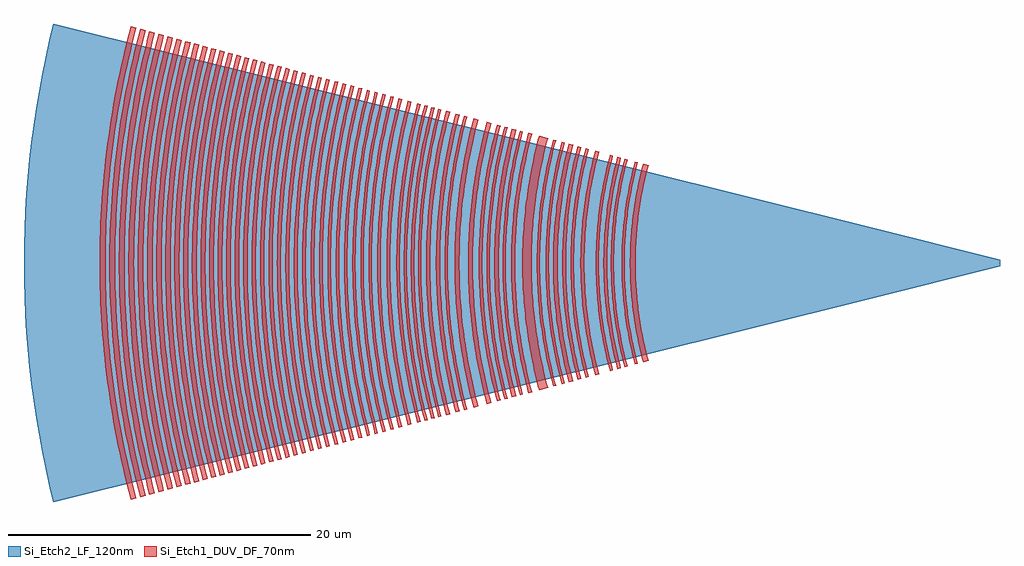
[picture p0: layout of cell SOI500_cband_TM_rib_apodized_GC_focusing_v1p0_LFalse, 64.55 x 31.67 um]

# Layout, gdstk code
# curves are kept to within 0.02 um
import gdstk
lib = gdstk.Library(unit=1e-6, precision=1e-09)
def P(c, l, *ps):  # polygons
    for p in ps: c.add(gdstk.Polygon(p, *l))
Si_Etch2_LF_120nm = (3, 0)
Si_Etch1_DUV_DF_70nm = (6, 0)

soi500_cband_tm_rib_apod = lib.new_cell('SOI500_cband_TM_rib_apodized_GC_focusing_v1p0_LFalse')
P(soi500_cband_tm_rib_apod, Si_Etch2_LF_120nm, [(-62.606,-15.834),(-63.12,-13.608),(-63.556,-11.366),(-64.062,-7.977),(-64.391,-4.566),(-64.51,-2.284),(-64.55,0),(-64.51,2.284),(-64.391,4.566),(-64.062,7.977),(-63.556,11.366),(-63.12,13.608),(-62.606,15.834),(0,0.225),(0,-0.225)])
P(soi500_cband_tm_rib_apod, Si_Etch1_DUV_DF_70nm, [(-23.608,-6.567),(-24.007,-4.841),(-24.256,-3.312),(-24.411,-1.77),(-24.473,0),(-24.411,1.77),(-24.256,3.312),(-24.007,4.841),(-23.608,6.567),(-23.246,6.47),(-23.639,4.77),(-23.884,3.263),(-24.037,1.744),(-24.098,0),(-24.037,-1.744),(-23.884,-3.263),(-23.639,-4.77),(-23.246,-6.47)],
  [(-24.144,-6.71),(-24.507,-5.17),(-24.806,-3.384),(-24.98,-1.583),(-25.028,0),(-24.98,1.583),(-24.806,3.384),(-24.507,5.17),(-24.144,6.71),(-23.951,6.659),(-24.355,4.91),(-24.608,3.358),(-24.78,1.571),(-24.828,0),(-24.78,-1.571),(-24.608,-3.358),(-24.355,-4.91),(-23.951,-6.659)],
  [(-24.826,-6.893),(-25.199,-5.31),(-25.506,-3.477),(-25.67,-1.858),(-25.734,0),(-25.67,1.858),(-25.506,3.477),(-25.199,5.31),(-24.826,6.893),(-24.633,6.842),(-25.048,5.044),(-25.308,3.451),(-25.47,1.844),(-25.534,0),(-25.47,-1.844),(-25.308,-3.451),(-25.048,-5.044),(-24.633,-6.842)],
  [(-25.302,-7.021),(-25.681,-5.408),(-25.994,-3.541),(-26.176,-1.655),(-26.226,0),(-26.176,1.655),(-25.994,3.541),(-25.681,5.408),(-25.302,7.021),(-25.068,6.959),(-25.49,5.13),(-25.754,3.509),(-25.919,1.875),(-25.984,0),(-25.919,-1.875),(-25.754,-3.509),(-25.49,-5.13),(-25.068,-6.959)],
  [(-25.793,-7.152),(-26.18,-5.51),(-26.498,-3.607),(-26.684,-1.687),(-26.735,0),(-26.684,1.687),(-26.498,3.607),(-26.18,5.51),(-25.793,7.152),(-25.6,7.101),(-26.031,5.235),(-26.3,3.581),(-26.484,1.675),(-26.535,0),(-26.484,-1.675),(-26.3,-3.581),(-26.031,-5.235),(-25.6,-7.101)],
  [(-26.771,-7.414),(-27.172,-5.711),(-27.502,-3.739),(-27.694,-1.749),(-27.747,0),(-27.694,1.749),(-27.502,3.739),(-27.172,5.711),(-26.771,7.414),(-26.518,7.347),(-26.915,5.659),(-27.242,3.705),(-27.416,1.98),(-27.485,0),(-27.416,-1.98),(-27.242,-3.705),(-26.915,-5.659),(-26.518,-7.347)],
  [(-27.399,-7.583),(-27.859,-5.591),(-28.146,-3.824),(-28.343,-1.789),(-28.397,0),(-28.343,1.789),(-28.146,3.824),(-27.859,5.591),(-27.399,7.583),(-27.192,7.528),(-27.649,5.55),(-27.934,3.796),(-28.129,1.776),(-28.183,0),(-28.129,-1.776),(-27.934,-3.796),(-27.649,-5.55),(-27.192,-7.528)],
  [(-27.933,-7.725),(-28.402,-5.696),(-28.695,-3.896),(-28.895,-1.822),(-28.95,0),(-28.895,1.822),(-28.695,3.896),(-28.402,5.696),(-27.933,7.725),(-27.694,7.662),(-28.109,5.902),(-28.45,3.864),(-28.648,1.807),(-28.703,0),(-28.648,-1.807),(-28.45,-3.864),(-28.109,-5.902),(-27.694,-7.662)],
  [(-28.522,-7.883),(-28.949,-6.074),(-29.299,-3.977),(-29.486,-2.125),(-29.56,0),(-29.486,2.125),(-29.299,3.977),(-28.949,6.074),(-28.522,7.883),(-28.229,7.806),(-28.652,6.013),(-28.999,3.937),(-29.184,2.104),(-29.257,0),(-29.184,-2.104),(-28.999,-3.937),(-28.652,-6.013),(-28.229,-7.806)],
  [(-28.992,-8.009),(-29.425,-6.17),(-29.781,-4.039),(-29.989,-1.89),(-30.046,0),(-29.989,1.89),(-29.781,4.039),(-29.425,6.17),(-28.992,8.009),(-28.791,7.956),(-29.221,6.129),(-29.575,4.012),(-29.781,1.877),(-29.838,0),(-29.781,-1.877),(-29.575,-4.012),(-29.221,-6.129),(-28.791,-7.956)],
  [(-29.555,-8.16),(-29.997,-6.287),(-30.36,-4.116),(-30.572,-1.925),(-30.63,0),(-30.572,1.925),(-30.36,4.116),(-29.997,6.287),(-29.555,8.16),(-29.362,8.109),(-29.801,6.247),(-30.162,4.09),(-30.372,1.913),(-30.43,0),(-30.372,-1.913),(-30.162,-4.09),(-29.801,-6.247),(-29.362,-8.109)],
  [(-30.487,-8.406),(-30.941,-6.478),(-31.148,-5.362),(-31.315,-4.24),(-31.533,-1.983),(-31.593,0),(-31.533,1.983),(-31.315,4.24),(-31.148,5.362),(-30.941,6.478),(-30.487,8.406),(-29.894,8.252),(-30.34,6.356),(-30.63,4.712),(-30.859,2.779),(-30.961,1.113),(-30.961,-1.113),(-30.882,-2.501),(-30.775,-3.609),(-30.446,-5.81),(-30.163,-7.172),(-29.894,-8.252)],
  [(-31.198,-8.6),(-31.663,-6.626),(-32.046,-4.338),(-32.269,-2.029),(-32.33,0),(-32.269,2.029),(-32.046,4.338),(-31.663,6.626),(-31.198,8.6),(-30.947,8.534),(-31.408,6.574),(-31.618,5.442),(-31.788,4.304),(-32.009,2.013),(-32.07,0),(-32.009,-2.013),(-31.788,-4.304),(-31.618,-5.442),(-31.408,-6.574),(-30.947,-8.534)],
  [(-31.744,-8.747),(-32.218,-6.738),(-32.607,-4.412),(-32.814,-2.357),(-32.876,-1.179),(-32.896,0),(-32.876,1.179),(-32.814,2.357),(-32.607,4.412),(-32.218,6.738),(-31.744,8.747),(-31.548,8.695),(-32.019,6.698),(-32.406,4.385),(-32.611,2.343),(-32.673,1.172),(-32.693,0),(-32.673,-1.172),(-32.611,-2.343),(-32.406,-4.385),(-32.019,-6.698),(-31.548,-8.695)],
  [(-32.277,-8.888),(-32.757,-6.848),(-32.976,-5.669),(-33.153,-4.484),(-33.363,-2.395),(-33.426,-1.198),(-33.447,0),(-33.426,1.198),(-33.363,2.395),(-33.153,4.484),(-32.976,5.669),(-32.757,6.848),(-32.277,8.888),(-31.99,8.813),(-32.466,6.789),(-32.683,5.62),(-32.859,4.445),(-33.067,2.375),(-33.129,1.188),(-33.15,0),(-33.129,-1.188),(-33.067,-2.375),(-32.859,-4.445),(-32.683,-5.62),(-32.466,-6.789),(-31.99,-8.813)],
  [(-32.763,-9.02),(-33.251,-6.949),(-33.473,-5.752),(-33.653,-4.549),(-33.867,-2.431),(-33.93,-1.216),(-33.951,0),(-33.93,1.216),(-33.867,2.431),(-33.653,4.549),(-33.473,5.752),(-33.251,6.949),(-32.763,9.02),(-32.57,8.969),(-32.93,7.5),(-33.171,6.315),(-33.414,4.823),(-33.561,3.622),(-33.704,1.814),(-33.751,0),(-33.704,-1.814),(-33.561,-3.622),(-33.414,-4.823),(-33.171,-6.315),(-32.93,-7.5),(-32.57,-8.969)],
  [(-33.266,-9.154),(-33.761,-7.053),(-33.986,-5.838),(-34.168,-4.617),(-34.308,-3.39),(-34.405,-2.16),(-34.471,0),(-34.405,2.16),(-34.308,3.39),(-34.168,4.617),(-33.986,5.838),(-33.761,7.053),(-33.266,9.154),(-33.035,9.093),(-33.527,7.005),(-33.75,5.799),(-33.931,4.586),(-34.146,2.451),(-34.211,1.226),(-34.232,0),(-34.211,-1.226),(-34.146,-2.451),(-33.931,-4.586),(-33.75,-5.799),(-33.527,-7.005),(-33.035,-9.093)],
  [(-33.946,-9.336),(-34.451,-7.193),(-34.68,-5.954),(-34.866,-4.709),(-35.087,-2.516),(-35.153,-1.259),(-35.175,0),(-35.153,1.259),(-35.087,2.516),(-34.866,4.709),(-34.68,5.954),(-34.451,7.193),(-33.946,9.336),(-33.65,9.258),(-34.151,7.132),(-34.378,5.904),(-34.563,4.669),(-34.782,2.495),(-34.847,1.248),(-34.869,0),(-34.847,-1.248),(-34.782,-2.495),(-34.563,-4.669),(-34.378,-5.904),(-34.151,-7.132),(-33.65,-9.258)],
  [(-34.815,-9.569),(-35.128,-8.319),(-35.396,-7.055),(-35.758,-4.826),(-35.985,-2.58),(-36.053,-1.29),(-36.075,0),(-36.053,1.29),(-35.985,2.58),(-35.758,4.826),(-35.396,7.055),(-35.128,8.319),(-34.815,9.569),(-34.504,9.487),(-34.814,8.246),(-35.08,6.994),(-35.439,4.784),(-35.584,3.513),(-35.685,2.238),(-35.753,0),(-35.685,-2.238),(-35.584,-3.513),(-35.439,-4.784),(-35.08,-6.994),(-34.814,-8.246),(-34.504,-9.487)],
  [(-35.443,-9.737),(-35.97,-7.501),(-36.209,-6.21),(-36.403,-4.911),(-36.634,-2.625),(-36.702,-1.313),(-36.725,0),(-36.702,1.313),(-36.634,2.625),(-36.403,4.911),(-36.209,6.21),(-35.97,7.501),(-35.443,9.737),(-35.248,9.686),(-35.564,8.419),(-35.896,6.82),(-36.112,5.532),(-36.282,4.237),(-36.472,1.959),(-36.523,0),(-36.472,-1.959),(-36.282,-4.237),(-36.112,-5.532),(-35.896,-6.82),(-35.564,-8.419),(-35.248,-9.686)],
  [(-36.003,-9.887),(-36.537,-7.617),(-36.78,-6.306),(-36.978,-4.987),(-37.211,-2.665),(-37.281,-1.334),(-37.304,0),(-37.281,1.334),(-37.211,2.665),(-36.978,4.987),(-36.78,6.306),(-36.537,7.617),(-36.003,9.887),(-35.736,9.817),(-36.267,7.562),(-36.508,6.26),(-36.704,4.951),(-36.936,2.646),(-37.005,1.324),(-37.028,0),(-37.005,-1.324),(-36.936,-2.646),(-36.704,-4.951),(-36.508,-6.26),(-36.267,-7.562),(-35.736,-9.817)],
  [(-36.632,-10.056),(-37.176,-7.747),(-37.423,-6.413),(-37.624,-5.072),(-37.777,-3.724),(-37.884,-2.372),(-37.956,0),(-37.884,2.372),(-37.777,3.724),(-37.624,5.072),(-37.423,6.413),(-37.176,7.747),(-36.632,10.056),(-36.373,9.988),(-36.699,8.681),(-36.979,7.363),(-37.358,5.037),(-37.594,2.692),(-37.664,1.347),(-37.688,0),(-37.664,-1.347),(-37.594,-2.692),(-37.358,-5.037),(-36.979,-7.363),(-36.699,-8.681),(-36.373,-9.988)],
  [(-37.145,-10.194),(-37.696,-7.853),(-37.947,-6.501),(-38.15,-5.141),(-38.392,-2.748),(-38.463,-1.375),(-38.487,0),(-38.463,1.375),(-38.392,2.748),(-38.15,5.141),(-37.947,6.501),(-37.696,7.853),(-37.145,10.194),(-36.952,10.143),(-37.283,8.816),(-37.631,7.142),(-37.857,5.793),(-38.035,4.436),(-38.214,2.392),(-38.287,0),(-38.214,-2.392),(-38.035,-4.436),(-37.857,-5.793),(-37.631,-7.142),(-37.283,-8.816),(-36.952,-10.143)],
  [(-37.606,-10.317),(-37.942,-8.968),(-38.232,-7.606),(-38.623,-5.204),(-38.781,-3.821),(-38.89,-2.434),(-38.964,0),(-38.89,2.434),(-38.781,3.821),(-38.623,5.204),(-38.232,7.606),(-37.942,8.968),(-37.606,10.317),(-37.386,10.259),(-37.721,8.917),(-38.073,7.224),(-38.302,5.859),(-38.52,4.143),(-38.683,2.075),(-38.737,0),(-38.683,-2.075),(-38.52,-4.143),(-38.302,-5.859),(-38.073,-7.224),(-37.721,-8.917),(-37.386,-10.259)],
  [(-38.054,-10.437),(-38.394,-9.072),(-38.687,-7.695),(-39.083,-5.264),(-39.33,-2.813),(-39.404,-1.408),(-39.428,0),(-39.404,1.408),(-39.33,2.813),(-39.083,5.264),(-38.687,7.695),(-38.394,9.072),(-38.054,10.437),(-37.861,10.386),(-38.199,9.027),(-38.491,7.657),(-38.734,6.278),(-38.97,4.543),(-39.173,2.1),(-39.228,0),(-39.173,-2.1),(-38.97,-4.543),(-38.734,-6.278),(-38.491,-7.657),(-38.199,-9.027),(-37.861,-10.386)],
  [(-38.527,-10.564),(-39.098,-8.138),(-39.357,-6.737),(-39.568,-5.327),(-39.729,-3.912),(-39.841,-2.492),(-39.917,0),(-39.841,2.492),(-39.729,3.912),(-39.568,5.327),(-39.357,6.737),(-39.098,8.138),(-38.527,10.564),(-38.315,10.508),(-38.657,9.133),(-38.952,7.747),(-39.252,6.001),(-39.437,4.596),(-39.622,2.479),(-39.698,0),(-39.622,-2.479),(-39.437,-4.596),(-39.252,-6.001),(-38.952,-7.747),(-38.657,-9.133),(-38.315,-10.508)],
  [(-39.158,-10.733),(-39.508,-9.329),(-39.809,-7.913),(-40.216,-5.414),(-40.38,-3.975),(-40.494,-2.531),(-40.571,0),(-40.494,2.531),(-40.38,3.975),(-40.216,5.414),(-39.809,7.913),(-39.508,9.329),(-39.158,10.733),(-38.924,10.671),(-39.352,8.924),(-39.639,7.514),(-39.928,5.738),(-40.103,4.31),(-40.272,2.158),(-40.329,0),(-40.272,-2.158),(-40.103,-4.31),(-39.928,-5.738),(-39.639,-7.514),(-39.352,-8.924),(-38.924,-10.671)],
  [(-39.756,-10.893),(-40.111,-9.468),(-40.417,-8.032),(-40.83,-5.494),(-40.996,-4.034),(-41.112,-2.57),(-41.19,0),(-41.112,2.57),(-40.996,4.034),(-40.83,5.494),(-40.417,8.032),(-40.111,9.468),(-39.756,10.893),(-39.543,10.837),(-39.897,9.419),(-40.201,7.99),(-40.51,6.189),(-40.701,4.74),(-40.913,2.191),(-40.97,0),(-40.913,-2.191),(-40.701,-4.74),(-40.51,-6.189),(-40.201,-7.99),(-39.897,-9.419),(-39.543,-10.837)],
  [(-40.304,-11.04),(-40.902,-8.505),(-41.173,-7.041),(-41.393,-5.568),(-41.655,-2.976),(-41.732,-1.489),(-41.758,0),(-41.732,1.489),(-41.655,2.976),(-41.393,5.568),(-41.173,7.041),(-40.902,8.505),(-40.304,11.04),(-40.111,10.989),(-40.47,9.551),(-40.778,8.102),(-41.092,6.276),(-41.285,4.807),(-41.479,2.592),(-41.558,0),(-41.479,-2.592),(-41.285,-4.807),(-41.092,-6.276),(-40.778,-8.102),(-40.47,-9.551),(-40.111,-10.989)],
  [(-40.822,-11.179),(-41.187,-9.717),(-41.427,-8.612),(-41.701,-7.129),(-41.924,-5.638),(-42.095,-4.14),(-42.214,-2.637),(-42.294,0),(-42.214,2.637),(-42.095,4.14),(-41.924,5.638),(-41.701,7.129),(-41.427,8.612),(-41.187,9.717),(-40.822,11.179),(-40.629,11.128),(-40.992,9.672),(-41.304,8.204),(-41.565,6.726),(-41.818,4.867),(-42.014,2.625),(-42.094,0),(-42.014,-2.625),(-41.818,-4.867),(-41.565,-6.726),(-41.304,-8.204),(-40.992,-9.672),(-40.629,-11.128)],
  [(-41.338,-11.317),(-41.62,-10.209),(-41.95,-8.718),(-42.228,-7.218),(-42.454,-5.708),(-42.627,-4.191),(-42.747,-2.669),(-42.828,0),(-42.747,2.669),(-42.627,4.191),(-42.454,5.708),(-42.228,7.218),(-41.95,8.718),(-41.62,10.209),(-41.338,11.317),(-41.145,11.266),(-41.596,9.422),(-41.899,7.933),(-42.15,6.434),(-42.348,4.928),(-42.547,2.657),(-42.628,0),(-42.547,-2.657),(-42.348,-4.928),(-42.15,-6.434),(-41.899,-7.933),(-41.596,-9.422),(-41.145,-11.266)],
  [(-41.863,-11.458),(-42.237,-9.96),(-42.483,-8.826),(-42.765,-7.308),(-42.993,-5.779),(-43.13,-4.628),(-43.265,-3.088),(-43.345,-1.545),(-43.372,0),(-43.345,1.545),(-43.265,3.088),(-43.13,4.628),(-42.993,5.779),(-42.765,7.308),(-42.483,8.826),(-42.237,9.96),(-41.863,11.458),(-41.667,11.406),(-42.124,9.539),(-42.431,8.031),(-42.685,6.514),(-42.886,4.989),(-43.109,2.306),(-43.169,0),(-43.109,-2.306),(-42.886,-4.989),(-42.685,-6.514),(-42.431,-8.031),(-42.124,-9.539),(-41.667,-11.406)],
  [(-42.398,-11.601),(-42.777,-10.084),(-43.025,-8.937),(-43.31,-7.398),(-43.541,-5.851),(-43.719,-4.296),(-43.842,-2.737),(-43.91,-1.173),(-43.925,0),(-43.91,1.173),(-43.842,2.737),(-43.719,4.296),(-43.541,5.851),(-43.31,7.398),(-43.025,8.937),(-42.777,10.084),(-42.398,11.601),(-42.191,11.547),(-42.568,10.036),(-42.964,8.13),(-43.221,6.594),(-43.424,5.05),(-43.628,2.724),(-43.696,1.168),(-43.711,0),(-43.696,-1.168),(-43.628,-2.724),(-43.424,-5.05),(-43.221,-6.594),(-42.964,-8.13),(-42.568,-10.036),(-42.191,-11.547)],
  [(-42.93,-11.744),(-43.313,-10.208),(-43.642,-8.659),(-43.854,-7.49),(-44.088,-5.923),(-44.267,-4.349),(-44.392,-2.77),(-44.461,-1.188),(-44.476,0),(-44.461,1.188),(-44.392,2.77),(-44.267,4.349),(-44.088,5.923),(-43.854,7.49),(-43.642,8.659),(-43.313,10.208),(-42.93,11.744),(-42.719,11.688),(-43.101,10.159),(-43.502,8.23),(-43.762,6.675),(-43.968,5.112),(-44.174,2.757),(-44.243,1.182),(-44.258,0),(-44.243,-1.182),(-44.174,-2.757),(-43.968,-5.112),(-43.762,-6.675),(-43.502,-8.23),(-43.101,-10.159),(-42.719,-11.688)],
  [(-43.466,-11.887),(-43.853,-10.332),(-44.186,-8.765),(-44.4,-7.58),(-44.637,-5.996),(-44.819,-4.403),(-44.945,-2.804),(-45.002,-1.603),(-45.03,0),(-45.002,1.603),(-44.945,2.804),(-44.819,4.403),(-44.637,5.996),(-44.4,7.58),(-44.186,8.765),(-43.853,10.332),(-43.466,11.887),(-43.245,11.829),(-43.631,10.281),(-44.037,8.329),(-44.3,6.755),(-44.508,5.174),(-44.717,2.79),(-44.774,1.595),(-44.802,0),(-44.774,-1.595),(-44.717,-2.79),(-44.508,-5.174),(-44.3,-6.755),(-44.037,-8.329),(-43.631,-10.281),(-43.245,-11.829)],
  [(-44.006,-12.032),(-44.398,-10.458),(-44.736,-8.871),(-44.953,-7.673),(-45.192,-6.068),(-45.376,-4.456),(-45.504,-2.839),(-45.562,-1.622),(-45.59,0),(-45.562,1.622),(-45.504,2.839),(-45.376,4.456),(-45.192,6.068),(-44.953,7.673),(-44.736,8.871),(-44.398,10.458),(-44.006,12.032),(-43.777,11.972),(-44.167,10.405),(-44.503,8.826),(-44.784,7.236),(-45.056,5.236),(-45.177,4.031),(-45.29,2.421),(-45.353,0),(-45.29,-2.421),(-45.177,-4.031),(-45.056,-5.236),(-44.784,-7.236),(-44.503,-8.826),(-44.167,-10.405),(-43.777,-11.972)],
  [(-44.547,-12.177),(-44.944,-10.584),(-45.286,-8.978),(-45.571,-7.36),(-45.747,-6.141),(-45.933,-4.51),(-46.063,-2.873),(-46.134,-1.231),(-46.15,0),(-46.134,1.231),(-46.063,2.873),(-45.933,4.51),(-45.747,6.141),(-45.571,7.36),(-45.286,8.978),(-44.944,10.584),(-44.547,12.177),(-44.317,12.116),(-44.712,10.531),(-45.052,8.933),(-45.398,6.92),(-45.611,5.299),(-45.825,2.858),(-45.896,1.225),(-45.912,0),(-45.896,-1.225),(-45.825,-2.858),(-45.611,-5.299),(-45.398,-6.92),(-45.052,-8.933),(-44.712,-10.531),(-44.317,-12.116)],
  [(-45.084,-12.32),(-45.486,-10.709),(-45.831,-9.084),(-46.12,-7.448),(-46.299,-6.214),(-46.487,-4.563),(-46.618,-2.906),(-46.69,-1.247),(-46.706,0),(-46.69,1.247),(-46.618,2.906),(-46.487,4.563),(-46.299,6.214),(-46.12,7.448),(-45.831,9.084),(-45.486,10.709),(-45.084,12.32),(-44.846,12.258),(-45.246,10.654),(-45.59,9.037),(-45.94,7.001),(-46.156,5.362),(-46.372,2.891),(-46.444,1.24),(-46.46,0),(-46.444,-1.24),(-46.372,-2.891),(-46.156,-5.362),(-45.94,-7.001),(-45.59,-9.037),(-45.246,-10.654),(-44.846,-12.258)],
  [(-45.62,-12.465),(-46.027,-10.835),(-46.376,-9.19),(-46.601,-7.95),(-46.849,-6.287),(-47.039,-4.616),(-47.172,-2.94),(-47.245,-1.261),(-47.261,0),(-47.245,1.261),(-47.172,2.94),(-47.039,4.616),(-46.849,6.287),(-46.601,7.95),(-46.376,9.19),(-46.027,10.835),(-45.62,12.465),(-45.376,12.4),(-45.781,10.778),(-46.129,9.142),(-46.483,7.082),(-46.701,5.424),(-46.92,2.925),(-46.993,1.254),(-47.009,0),(-46.993,-1.254),(-46.92,-2.925),(-46.701,-5.424),(-46.483,-7.082),(-46.129,-9.142),(-45.781,-10.778),(-45.376,-12.4)],
  [(-46.16,-12.608),(-46.57,-10.96),(-46.924,-9.296),(-47.151,-8.041),(-47.402,-6.36),(-47.595,-4.67),(-47.729,-2.975),(-47.802,-1.276),(-47.819,0),(-47.802,1.276),(-47.729,2.975),(-47.595,4.67),(-47.402,6.36),(-47.151,8.041),(-46.924,9.296),(-46.57,10.96),(-46.16,12.608),(-45.911,12.543),(-46.32,10.902),(-46.75,8.832),(-47.03,7.163),(-47.297,5.066),(-47.496,2.536),(-47.562,0),(-47.496,-2.536),(-47.297,-5.066),(-47.03,-7.163),(-46.75,-8.832),(-46.32,-10.902),(-45.911,-12.543)],
  [(-46.696,-12.753),(-47.014,-11.503),(-47.386,-9.824),(-47.699,-8.134),(-47.954,-6.432),(-48.148,-4.723),(-48.284,-3.008),(-48.345,-1.72),(-48.375,0),(-48.345,1.72),(-48.284,3.008),(-48.148,4.723),(-47.954,6.432),(-47.699,8.134),(-47.386,9.824),(-47.014,11.503),(-46.696,12.753),(-46.442,12.686),(-46.856,11.026),(-47.291,8.932),(-47.574,7.245),(-47.797,5.549),(-48.021,2.992),(-48.082,1.711),(-48.112,0),(-48.082,-1.711),(-48.021,-2.992),(-47.797,-5.549),(-47.574,-7.245),(-47.291,-8.932),(-46.856,-11.026),(-46.442,-12.686)],
  [(-47.236,-12.897),(-47.558,-11.634),(-47.934,-9.936),(-48.25,-8.226),(-48.508,-6.505),(-48.705,-4.777),(-48.841,-3.043),(-48.904,-1.739),(-48.934,0),(-48.904,1.739),(-48.841,3.043),(-48.705,4.777),(-48.508,6.505),(-48.25,8.226),(-47.934,9.936),(-47.558,11.634),(-47.236,12.897),(-46.974,12.828),(-47.393,11.15),(-47.833,9.033),(-48.119,7.326),(-48.344,5.611),(-48.571,3.026),(-48.633,1.73),(-48.663,0),(-48.633,-1.73),(-48.571,-3.026),(-48.344,-5.611),(-48.119,-7.326),(-47.833,-9.033),(-47.393,-11.15),(-46.974,-12.828)],
  [(-47.774,-13.042),(-48.2,-11.336),(-48.565,-9.616),(-48.871,-7.883),(-49.06,-6.578),(-49.259,-4.83),(-49.397,-3.077),(-49.474,-1.319),(-49.491,0),(-49.474,1.319),(-49.397,3.077),(-49.259,4.83),(-49.06,6.578),(-48.871,7.883),(-48.565,9.616),(-48.2,11.336),(-47.774,13.042),(-47.507,12.971),(-47.931,11.274),(-48.376,9.133),(-48.665,7.408),(-48.893,5.673),(-49.122,3.06),(-49.198,1.312),(-49.215,0),(-49.198,-1.312),(-49.122,-3.06),(-48.893,-5.673),(-48.665,-7.408),(-48.376,-9.133),(-47.931,-11.274),(-47.507,-12.971)],
  [(-48.315,-13.186),(-48.745,-11.462),(-49.115,-9.722),(-49.424,-7.971),(-49.616,-6.651),(-49.817,-4.884),(-49.927,-3.555),(-50.02,-1.778),(-50.051,0),(-50.02,1.778),(-49.927,3.555),(-49.817,4.884),(-49.616,6.651),(-49.424,7.971),(-49.115,9.722),(-48.745,11.462),(-48.315,13.186),(-48.041,13.114),(-48.567,10.967),(-48.92,9.234),(-49.211,7.49),(-49.442,5.736),(-49.612,3.976),(-49.699,2.652),(-49.768,0),(-49.699,-2.652),(-49.612,-3.976),(-49.442,-5.736),(-49.211,-7.49),(-48.92,-9.234),(-48.567,-10.967),(-48.041,-13.114)],
  [(-48.861,-13.332),(-49.295,-11.589),(-49.67,-9.83),(-49.909,-8.503),(-50.175,-6.724),(-50.379,-4.938),(-50.49,-3.593),(-50.585,-1.798),(-50.616,0),(-50.585,1.798),(-50.49,3.593),(-50.379,4.938),(-50.175,6.724),(-49.909,8.503),(-49.67,9.83),(-49.295,11.589),(-48.861,13.332),(-48.578,13.258),(-49.01,11.523),(-49.382,9.774),(-49.76,7.572),(-49.994,5.799),(-50.128,4.465),(-50.253,2.681),(-50.323,0),(-50.253,-2.681),(-50.128,-4.465),(-49.994,-5.799),(-49.76,-7.572),(-49.382,-9.774),(-49.01,-11.523),(-48.578,-13.258)],
  [(-49.404,-13.478),(-49.843,-11.716),(-50.222,-9.938),(-50.464,-8.596),(-50.732,-6.798),(-50.939,-4.991),(-51.051,-3.633),(-51.146,-1.817),(-51.178,0),(-51.146,1.817),(-51.051,3.633),(-50.939,4.991),(-50.732,6.798),(-50.464,8.596),(-50.222,9.938),(-49.843,11.716),(-49.404,13.478),(-49.118,13.403),(-49.555,11.649),(-49.931,9.881),(-50.313,7.654),(-50.549,5.862),(-50.685,4.513),(-50.811,2.71),(-50.882,0),(-50.811,-2.71),(-50.685,-4.513),(-50.549,-5.862),(-50.313,-7.654),(-49.931,-9.881),(-49.555,-11.649),(-49.118,-13.403)],
  [(-49.947,-13.623),(-50.286,-12.289),(-50.683,-10.495),(-51.018,-8.688),(-51.289,-6.872),(-51.498,-5.045),(-51.612,-3.672),(-51.708,-1.838),(-51.74,0),(-51.708,1.838),(-51.612,3.672),(-51.498,5.045),(-51.289,6.872),(-51.018,8.688),(-50.683,10.495),(-50.286,12.289),(-49.947,13.623),(-49.654,13.546),(-50.096,11.774),(-50.561,9.538),(-50.862,7.736),(-51.101,5.925),(-51.276,4.106),(-51.365,2.739),(-51.437,0),(-51.365,-2.739),(-51.276,-4.106),(-51.101,-5.925),(-50.862,-7.736),(-50.561,-9.538),(-50.096,-11.774),(-49.654,-13.546)],
  [(-50.492,-13.769),(-50.94,-11.969),(-51.236,-10.608),(-51.575,-8.781),(-51.848,-6.945),(-52.059,-5.1),(-52.174,-3.711),(-52.272,-1.857),(-52.304,0),(-52.272,1.857),(-52.174,3.711),(-52.059,5.1),(-51.848,6.945),(-51.575,8.781),(-51.236,10.608),(-50.94,11.969),(-50.492,13.769),(-50.192,13.69),(-50.74,11.449),(-51.108,9.64),(-51.413,7.819),(-51.654,5.988),(-51.793,4.61),(-51.922,2.768),(-51.994,0),(-51.922,-2.768),(-51.793,-4.61),(-51.654,-5.988),(-51.413,-7.819),(-51.108,-9.64),(-50.74,-11.449),(-50.192,-13.69)],
  [(-51.039,-13.915),(-51.492,-12.096),(-51.791,-10.72),(-52.133,-8.875),(-52.41,-7.018),(-52.623,-5.154),(-52.739,-3.751),(-52.837,-1.877),(-52.87,0),(-52.837,1.877),(-52.739,3.751),(-52.623,5.154),(-52.41,7.018),(-52.133,8.875),(-51.791,10.72),(-51.492,12.096),(-51.039,13.915),(-50.733,13.835),(-51.287,11.57),(-51.659,9.742),(-52.034,7.44),(-52.261,5.588),(-52.481,2.798),(-52.554,0),(-52.481,-2.798),(-52.261,-5.588),(-52.034,-7.44),(-51.659,-9.742),(-51.287,-11.57),(-50.733,-13.835)],
  [(-51.589,-14.064),(-52.048,-12.224),(-52.35,-10.834),(-52.696,-8.969),(-52.976,-7.093),(-53.191,-5.209),(-53.339,-3.318),(-53.408,-1.896),(-53.441,0),(-53.408,1.896),(-53.339,3.318),(-53.191,5.209),(-52.976,7.093),(-52.696,8.969),(-52.35,10.834),(-52.048,12.224),(-51.589,14.064),(-51.279,13.982),(-51.735,12.152),(-52.127,10.308),(-52.455,8.451),(-52.658,7.051),(-52.871,5.178),(-53.019,3.298),(-53.087,1.885),(-53.12,0),(-53.087,-1.885),(-53.019,-3.298),(-52.871,-5.178),(-52.658,-7.051),(-52.455,-8.451),(-52.127,-10.308),(-51.735,-12.152),(-51.279,-13.982)],
  [(-52.151,-14.214),(-52.615,-12.355),(-53.013,-10.48),(-53.346,-8.592),(-53.552,-7.169),(-53.721,-5.742),(-53.888,-3.831),(-53.989,-1.916),(-54.022,0),(-53.989,1.916),(-53.888,3.831),(-53.721,5.742),(-53.552,7.169),(-53.346,8.592),(-53.013,10.48),(-52.615,12.355),(-52.151,14.214),(-51.831,14.13),(-52.292,12.281),(-52.688,10.417),(-53.019,8.54),(-53.224,7.126),(-53.44,5.233),(-53.558,3.808),(-53.658,1.905),(-53.691,0),(-53.658,-1.905),(-53.558,-3.808),(-53.44,-5.233),(-53.224,-7.126),(-53.019,-8.54),(-52.688,-10.417),(-52.292,-12.281),(-51.831,-14.13)],
  [(-52.719,-14.366),(-53.187,-12.487),(-53.59,-10.593),(-53.927,-8.684),(-54.135,-7.246),(-54.306,-5.802),(-54.475,-3.873),(-54.576,-1.938),(-54.61,0),(-54.576,1.938),(-54.475,3.873),(-54.306,5.802),(-54.135,7.246),(-53.927,8.684),(-53.59,10.593),(-53.187,12.487),(-52.719,14.366),(-52.392,14.28),(-52.858,12.411),(-53.258,10.528),(-53.593,8.631),(-53.8,7.202),(-53.97,5.767),(-54.138,3.849),(-54.238,1.926),(-54.272,0),(-54.238,-1.926),(-54.138,-3.849),(-53.97,-5.767),(-53.8,-7.202),(-53.593,-8.631),(-53.258,-10.528),(-52.858,-12.411),(-52.392,-14.28)],
  [(-53.291,-14.519),(-53.652,-13.097),(-54.076,-11.185),(-54.432,-9.259),(-54.722,-7.323),(-54.895,-5.865),(-55.065,-3.914),(-55.168,-1.958),(-55.202,0),(-55.168,1.958),(-55.065,3.914),(-54.895,5.865),(-54.722,7.323),(-54.432,9.259),(-54.076,11.185),(-53.652,13.097),(-53.291,14.519),(-52.96,14.432),(-53.431,12.544),(-53.741,11.117),(-54.095,9.203),(-54.383,7.278),(-54.603,5.345),(-54.756,3.404),(-54.841,1.46),(-54.86,0),(-54.841,-1.46),(-54.756,-3.404),(-54.603,-5.345),(-54.383,-7.278),(-54.095,-9.203),(-53.741,-11.117),(-53.431,-12.544),(-52.96,-14.432)],
  [(-53.87,-14.674),(-54.348,-12.755),(-54.76,-10.819),(-55.103,-8.871),(-55.316,-7.401),(-55.54,-5.435),(-55.663,-3.955),(-55.767,-1.979),(-55.801,0),(-55.767,1.979),(-55.663,3.955),(-55.54,5.435),(-55.316,7.401),(-55.103,8.871),(-54.76,10.819),(-54.348,12.755),(-53.87,14.674),(-53.532,14.585),(-54.008,12.677),(-54.417,10.753),(-54.758,8.816),(-54.97,7.356),(-55.193,5.401),(-55.315,3.931),(-55.418,1.967),(-55.452,0),(-55.418,-1.967),(-55.315,-3.931),(-55.193,-5.401),(-54.97,-7.356),(-54.758,-8.816),(-54.417,-10.753),(-54.008,-12.677),(-53.532,-14.585)],
  [(-54.454,-14.832),(-54.938,-12.892),(-55.355,-10.935),(-55.702,-8.965),(-55.917,-7.48),(-56.143,-5.493),(-56.3,-3.499),(-56.372,-2),(-56.407,0),(-56.372,2),(-56.3,3.499),(-56.143,5.493),(-55.917,7.48),(-55.702,8.965),(-55.355,10.935),(-54.938,12.892),(-54.454,14.832),(-54.11,14.741),(-54.591,12.812),(-54.908,11.355),(-55.27,9.4),(-55.564,7.434),(-55.789,5.459),(-55.945,3.477),(-56.016,1.988),(-56.051,0),(-56.016,-1.988),(-55.945,-3.477),(-55.789,-5.459),(-55.564,-7.434),(-55.27,-9.4),(-54.908,-11.355),(-54.591,-12.812),(-54.11,-14.741)],
  [(-55.05,-14.99),(-55.423,-13.523),(-55.86,-11.548),(-56.229,-9.56),(-56.528,-7.561),(-56.706,-6.055),(-56.882,-4.041),(-56.988,-2.022),(-57.023,0),(-56.988,2.022),(-56.882,4.041),(-56.706,6.055),(-56.528,7.561),(-56.229,9.56),(-55.86,11.548),(-55.423,13.523),(-55.05,14.99),(-54.696,14.897),(-55.182,12.948),(-55.599,10.983),(-55.868,9.5),(-56.165,7.513),(-56.392,5.517),(-56.55,3.514),(-56.622,2.009),(-56.657,0),(-56.622,-2.009),(-56.55,-3.514),(-56.392,-5.517),(-56.165,-7.513),(-55.868,-9.5),(-55.599,-10.983),(-55.182,-12.948),(-54.696,-14.897)],
  [(-55.652,-15.152),(-56.029,-13.667),(-56.471,-11.673),(-56.843,-9.663),(-57.145,-7.642),(-57.325,-6.12),(-57.503,-4.084),(-57.611,-2.043),(-57.646,0),(-57.611,2.043),(-57.503,4.084),(-57.325,6.12),(-57.145,7.642),(-56.843,9.663),(-56.471,11.673),(-56.146,13.17),(-55.652,15.152),(-55.294,15.058),(-55.669,13.581),(-56.108,11.599),(-56.478,9.602),(-56.778,7.594),(-57.008,5.576),(-57.134,4.058),(-57.241,2.03),(-57.276,0),(-57.241,-2.03),(-57.134,-4.058),(-57.008,-5.576),(-56.778,-7.594),(-56.478,-9.602),(-56.108,-11.599),(-55.669,-13.581),(-55.294,-15.058)],
  [(-56.257,-15.313),(-56.755,-13.312),(-57.185,-11.29),(-57.461,-9.766),(-57.766,-7.724),(-57.948,-6.185),(-58.128,-4.128),(-58.236,-2.065),(-58.272,0),(-58.236,2.065),(-58.128,4.128),(-57.948,6.185),(-57.766,7.724),(-57.461,9.766),(-57.185,11.29),(-56.755,13.312),(-56.257,15.313),(-55.893,15.218),(-56.389,13.227),(-56.716,11.722),(-57.09,9.704),(-57.393,7.675),(-57.574,6.146),(-57.753,4.102),(-57.86,2.052),(-57.896,0),(-57.86,-2.052),(-57.753,-4.102),(-57.574,-6.146),(-57.393,-7.675),(-57.09,-9.704),(-56.716,-11.722),(-56.389,-13.227),(-55.893,-15.218)],
  [(-56.867,-15.478),(-57.372,-13.453),(-57.806,-11.412),(-58.085,-9.871),(-58.394,-7.806),(-58.577,-6.251),(-58.759,-4.172),(-58.869,-2.088),(-58.905,0),(-58.869,2.088),(-58.759,4.172),(-58.577,6.251),(-58.394,7.806),(-58.085,9.871),(-57.806,11.412),(-57.372,13.453),(-56.867,15.478),(-56.497,15.38),(-56.999,13.367),(-57.329,11.847),(-57.707,9.808),(-58.014,7.756),(-58.248,5.696),(-58.411,3.628),(-58.502,1.556),(-58.522,0),(-58.502,-1.556),(-58.411,-3.628),(-58.248,-5.696),(-58.014,-7.756),(-57.707,-9.808),(-57.329,-11.847),(-56.999,-13.367),(-56.497,-15.38)],
  [(-57.49,-15.645),(-58.001,-13.599),(-58.44,-11.535),(-58.806,-9.457),(-59.033,-7.891),(-59.219,-6.319),(-59.403,-4.217),(-59.513,-2.109),(-59.55,0),(-59.513,2.109),(-59.403,4.217),(-59.219,6.319),(-59.033,7.891),(-58.806,9.457),(-58.44,11.535),(-58.001,13.599),(-57.49,15.645),(-57.112,15.545),(-57.62,13.511),(-58.056,11.46),(-58.42,9.396),(-58.645,7.84),(-58.83,6.278),(-59.013,4.19),(-59.122,2.096),(-59.159,0),(-59.122,-2.096),(-59.013,-4.19),(-58.83,-6.278),(-58.645,-7.84),(-58.42,-9.396),(-58.056,-11.46),(-57.62,-13.511),(-57.112,-15.545)])

lib.write_gds('SOI500_cband_TM_rib_apodized_GC_focusing_v1p0_LFalse.gds')
